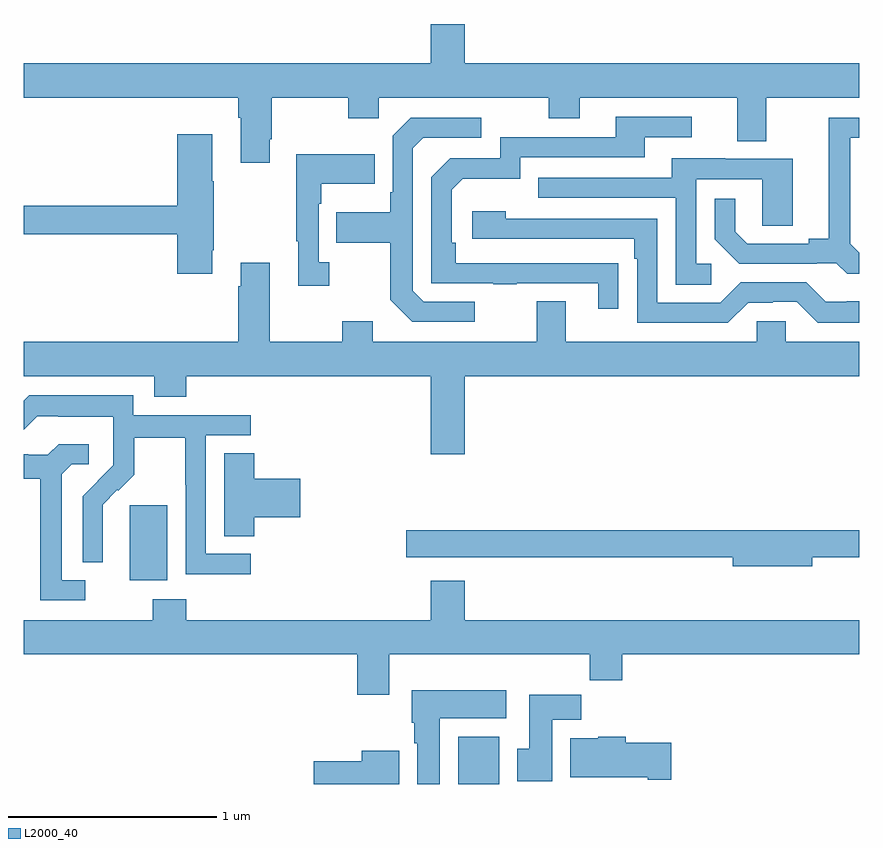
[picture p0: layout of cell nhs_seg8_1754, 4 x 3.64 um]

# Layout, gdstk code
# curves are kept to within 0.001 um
import gdstk
lib = gdstk.Library(unit=1e-6, precision=1e-09)
def R(c, l, rs):  # rectangles x0, y0, x1, y1
    for r in rs: c.add(gdstk.rectangle(r[:2], r[2:], *l))
def P(c, l, *ps):  # polygons
    for p in ps: c.add(gdstk.Polygon(p, *l))
L2000_40 = (2000, 40)

nhs_seg8_1754 = lib.new_cell('nhs_seg8_1754')
R(nhs_seg8_1754, L2000_40, [(225.08,1095.9,225.277,1096.126), (223.508,1096.874,223.687,1097.235)])
P(nhs_seg8_1754, L2000_40, [(224.179,1098.985),(224.187,1098.985),(224.187,1099.184),(224.554,1099.184),(224.554,1099.085),(224.7,1099.085),(224.7,1099.184),(225.514,1099.184),(225.514,1099.085),(225.661,1099.085),(225.661,1099.184),(226.415,1099.184),(226.415,1098.976),(226.555,1098.976),(226.555,1099.184),(227,1099.184),(227,1099.348),(225.112,1099.348),(225.112,1099.537),(224.948,1099.537),(224.948,1099.348),(223,1099.348),(223,1099.184),(224.027,1099.184),(224.027,1099.088),(224.039,1099.088),(224.039,1098.873),(224.179,1098.873)],
  [(225.845,1098.392),(225.068,1098.393),(225.068,1098.49),(225.048,1098.49),(225.048,1098.744),(225.101,1098.797),(225.378,1098.797),(225.378,1098.9),(225.973,1098.9),(225.973,1098.996),(226.198,1098.996),(226.198,1099.092),(225.833,1099.092),(225.833,1098.996),(225.282,1098.996),(225.282,1098.894),(225.042,1098.894),(224.952,1098.804),(224.952,1098.297),(225.247,1098.297),(225.247,1098.292),(225.359,1098.292),(225.359,1098.297),(225.749,1098.297),(225.749,1098.174),(225.845,1098.174)],
  [(225.16,1098.207),(224.916,1098.207),(224.862,1098.261),(224.862,1098.942),(224.913,1098.993),(225.19,1098.993),(225.19,1099.089),(224.853,1099.089),(224.766,1099.002),(224.766,1098.733),(224.754,1098.733),(224.754,1098.637),(224.497,1098.637),(224.497,1098.49),(224.754,1098.49),(224.754,1098.217),(224.859,1098.111),(225.16,1098.111)],
  [(227,1098.442),(226.957,1098.485),(226.957,1098.993),(227,1098.993),(227,1099.089),(226.853,1099.089),(226.853,1098.509),(226.757,1098.509),(226.757,1098.486),(226.462,1098.486),(226.405,1098.543),(226.405,1098.7),(226.308,1098.7),(226.308,1098.506),(226.424,1098.39),(226.796,1098.39),(226.796,1098.393),(226.89,1098.393),(226.942,1098.341),(227,1098.341)],
  [(223.903,1098.454),(223.911,1098.454),(223.911,1098.785),(223.903,1098.785),(223.903,1099.009),(223.736,1099.009),(223.736,1098.668),(223,1098.668),(223,1098.532),(223.736,1098.532),(223.736,1098.342),(223.903,1098.342)],
  [(224.464,1098.398),(224.412,1098.398),(224.412,1098.677),(224.425,1098.677),(224.425,1098.773),(224.681,1098.773),(224.681,1098.913),(224.304,1098.913),(224.304,1098.497),(224.315,1098.497),(224.315,1098.285),(224.464,1098.285)],
  [(226.291,1098.39),(226.218,1098.39),(226.218,1098.795),(226.536,1098.795),(226.536,1098.571),(226.681,1098.571),(226.681,1098.891),(226.357,1098.891),(226.357,1098.895),(226.103,1098.895),(226.103,1098.801),(225.463,1098.801),(225.463,1098.705),(226.122,1098.705),(226.122,1098.289),(226.291,1098.289)],
  [(227,1098.211),(226.939,1098.211),(226.939,1098.207),(226.839,1098.207),(226.746,1098.3),(226.431,1098.3),(226.335,1098.204),(226.032,1098.204),(226.032,1098.606),(225.308,1098.606),(225.308,1098.64),(225.147,1098.64),(225.147,1098.51),(225.923,1098.51),(225.923,1098.413),(225.936,1098.413),(225.936,1098.108),(226.371,1098.108),(226.467,1098.204),(226.586,1098.204),(226.586,1098.207),(226.701,1098.207),(226.801,1098.107),(227,1098.107)],
  [(225.112,1097.852),(227,1097.852),(227,1098.016),(226.647,1098.016),(226.647,1098.114),(226.509,1098.114),(226.509,1098.016),(225.595,1098.016),(225.595,1098.211),(225.455,1098.211),(225.455,1098.016),(224.671,1098.016),(224.671,1098.115),(224.524,1098.115),(224.524,1098.016),(224.179,1098.016),(224.179,1098.394),(224.039,1098.394),(224.039,1098.281),(224.027,1098.281),(224.027,1098.016),(223,1098.016),(223,1097.852),(223.625,1097.852),(223.625,1097.753),(223.778,1097.753),(223.778,1097.852),(224.948,1097.852),(224.948,1097.478),(225.112,1097.478)],
  [(224.086,1097.001),(223.872,1097.001),(223.872,1097.568),(224.086,1097.568),(224.086,1097.664),(223.524,1097.664),(223.524,1097.761),(223.027,1097.761),(223,1097.734),(223,1097.596),(223.065,1097.661),(223.165,1097.661),(223.165,1097.657),(223.428,1097.657),(223.428,1097.523),(223.43,1097.523),(223.43,1097.426),(223.284,1097.278),(223.284,1096.96),(223.38,1096.96),(223.379,1097.237),(223.449,1097.307),(223.452,1097.304),(223.529,1097.381),(223.529,1097.556),(223.774,1097.556),(223.774,1097.332),(223.776,1097.332),(223.776,1096.903),(224.086,1096.903)],
  [(223.294,1096.875),(223.183,1096.875),(223.183,1097.383),(223.23,1097.43),(223.312,1097.43),(223.312,1097.527),(223.168,1097.527),(223.116,1097.475),(223.022,1097.475),(223.022,1097.478),(223,1097.478),(223,1097.36),(223.079,1097.36),(223.079,1096.779),(223.294,1096.779)],
  [(224.105,1097.177),(224.323,1097.177),(224.323,1097.36),(224.105,1097.36),(224.105,1097.483),(223.961,1097.483),(223.961,1097.086),(224.105,1097.086)],
  [(226.774,1096.986),(227,1096.986),(227,1097.114),(225.216,1097.114),(225.216,1097.115),(224.832,1097.115),(224.832,1096.985),(225.216,1096.985),(225.216,1096.986),(226.394,1096.986),(226.394,1096.943),(226.774,1096.943)],
  [(224.749,1096.52),(225.709,1096.52),(225.709,1096.396),(225.866,1096.396),(225.866,1096.52),(227,1096.52),(227,1096.684),(225.112,1096.684),(225.112,1096.873),(224.948,1096.873),(224.948,1096.684),(223.778,1096.684),(223.778,1096.783),(223.618,1096.783),(223.618,1096.684),(223,1096.684),(223,1096.52),(224.597,1096.52),(224.597,1096.326),(224.749,1096.326)],
  [(224.992,1096.214),(225.31,1096.214),(225.31,1096.348),(224.858,1096.348),(224.858,1096.194),(224.87,1096.194),(224.87,1096.094),(224.885,1096.094),(224.885,1095.9),(224.992,1095.9)],
  [(225.529,1096.208),(225.668,1096.208),(225.668,1096.327),(225.419,1096.327),(225.419,1096.068),(225.362,1096.068),(225.362,1095.912),(225.529,1095.912)],
  [(226.099,1096.098),(225.881,1096.098),(225.881,1096.126),(225.75,1096.126),(225.75,1096.12),(225.617,1096.12),(225.617,1095.932),(225.986,1095.932),(225.986,1095.92),(226.099,1095.92)],
  [(224.797,1096.06),(224.618,1096.06),(224.618,1096.01),(224.388,1096.01),(224.388,1095.9),(224.797,1095.9)])

lib.write_gds('nhs_seg8_1754.gds')
